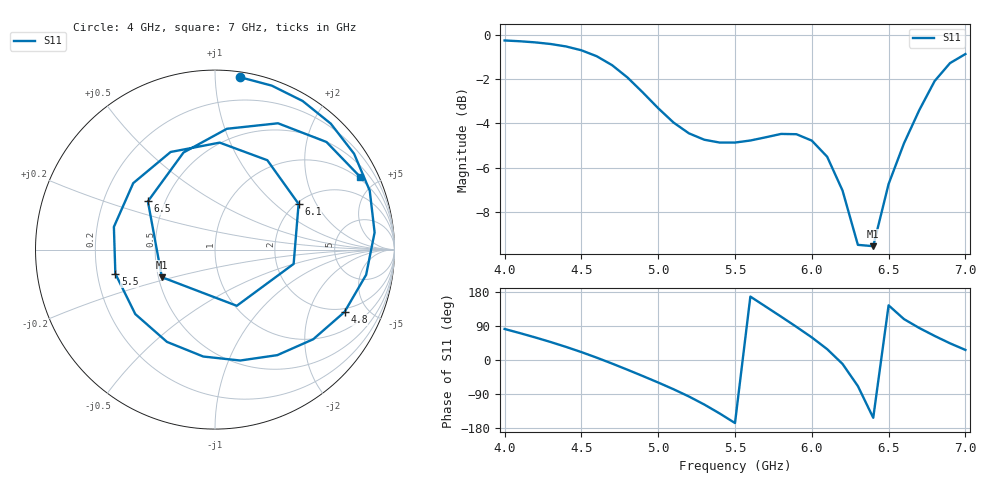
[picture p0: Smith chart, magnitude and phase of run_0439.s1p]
! Touchstone file exported from HFSS 2024.2.0
!  File:  C:/Users/wsak9/Desktop/Sim Fast/Widenad Patch/WP_AI_V1_sweep.aedt
!  Generated:  10:03:54 AM Oct 14, 2026
!  Design:  A1_model
!  Project:  WP_AI_V1_sweep
!  Setup:  Setup1
!  Solution:  Sweep
! Variables:
!  Air_gap = 2.82mm
!  Curve_Amp1 = 0.64
!  Curve_len1 = 1
!  Curve_pos = 9.94mm
!  Extra = 1.3mm
!  H_sub = 0.79mm
!  L_Patch = 15.88mm
!  L_Patch1 = 17.92mm
!  Sx = 0.96mm
!  Sy = 3.53mm
!  WS = 0.38mm
!  W_Patch = 17.67mm
!  W_Patch1 = 16.62mm
!Data is not renormalized
# GHz S MA
! Terminal data exported
! Port[1] = 1
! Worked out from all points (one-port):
!   31 points, 4 GHz to 7 GHz, reference per port
!   lowest |S11| = -9.5 dB at 6.4 GHz (marker M1), VSWR 2.00
!   |S11| at or under -10 dB: nowhere
!   S11 on the Smith chart (normalised r, x): 4 GHz: 0.03, +1.15; 4.8 GHz: 1.81, -3.50; 5.5 GHz: 0.28, -0.11; 6.1 GHz: 2.05, +1.45; 6.5 GHz: 0.40, +0.27; 7 GHz: 0.90, +4.04
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4  0.9709 81.9
4.2  0.9612 59.5
4.4  0.9411 34.6
4.5  0.9225 20.8
4.6  0.8944 6.2
4.7  0.8538 -9.4
4.8  0.8009 -25.7
4.9  0.7409 -42.4
5  0.6828 -59.4
5.2  0.5993 -96.3
5.3  0.5797 -117.5
5.4  0.5713 -141.0
5.5  0.5712 -166.4
5.6  0.5774 167.4
5.7  0.5871 140.9
5.8  0.5974 114.4
5.9  0.5966 87.5
6  0.577 59.6
6.1  0.5307 28.7
6.2  0.4453 -10.3
6.3  0.3358 -68.8
6.4  0.3335 -152.5
6.5  0.4606 144.3
6.6  0.5687 108.0
6.7  0.6764 84.4
6.8  0.7865 63.5
6.9  0.8632 44.0
7  0.9046 26.6
